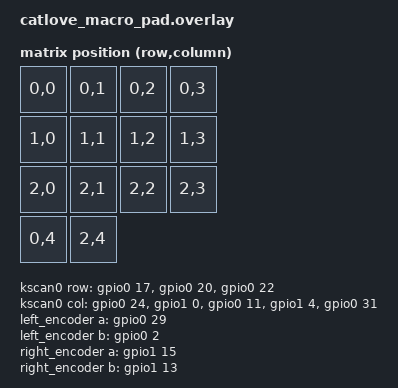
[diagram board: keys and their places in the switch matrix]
#include <dt-bindings/zmk/matrix_transform.h>
#include <dt-bindings/gpio/gpio.h>

/ {
    chosen {
        zmk,kscan = &kscan0;
        zmk,physical-layout = &physical_layout0;
        zmk,sensors = &sensors;
    };

    kscan0: kscan {
        compatible = "zmk,kscan-gpio-matrix";
        diode-direction = "col2row";

        row-gpios
            = <&gpio0 17 (GPIO_ACTIVE_HIGH | GPIO_PULL_DOWN)>
            , <&gpio0 20 (GPIO_ACTIVE_HIGH | GPIO_PULL_DOWN)>
            , <&gpio0 22 (GPIO_ACTIVE_HIGH | GPIO_PULL_DOWN)>
            ;

        col-gpios
            = <&gpio0 24 GPIO_ACTIVE_HIGH>
            , <&gpio1 0  GPIO_ACTIVE_HIGH>
            , <&gpio0 11 GPIO_ACTIVE_HIGH>
            , <&gpio1 4  GPIO_ACTIVE_HIGH>
            , <&gpio0 31 GPIO_ACTIVE_HIGH>
            ;
    };

    default_transform: keymap_transform_0 {
        compatible = "zmk,matrix-transform";
        rows = <3>;
        columns = <5>;

        map = <
            RC(0,0) RC(0,1) RC(0,2) RC(0,3)
            RC(1,0) RC(1,1) RC(1,2) RC(1,3)
            RC(2,0) RC(2,1) RC(2,2) RC(2,3)
            RC(0,4) RC(2,4)
        >;
    };

    left_encoder: encoder_0 {
        compatible = "alps,ec11";
        a-gpios = <&gpio0 29 (GPIO_ACTIVE_HIGH | GPIO_PULL_UP)>;
        b-gpios = <&gpio0 2  (GPIO_ACTIVE_HIGH | GPIO_PULL_UP)>;
        steps = <80>;
        status = "okay";
    };

    right_encoder: encoder_1 {
        compatible = "alps,ec11";
        a-gpios = <&gpio1 15 (GPIO_ACTIVE_HIGH | GPIO_PULL_UP)>;
        b-gpios = <&gpio1 13 (GPIO_ACTIVE_HIGH | GPIO_PULL_UP)>;
        steps = <80>;
        status = "okay";
    };

    sensors: sensors {
        compatible = "zmk,keymap-sensors";
        sensors = <&left_encoder &right_encoder>;
    };
};

#include "catlove_macro_pad-layouts.dtsi"
